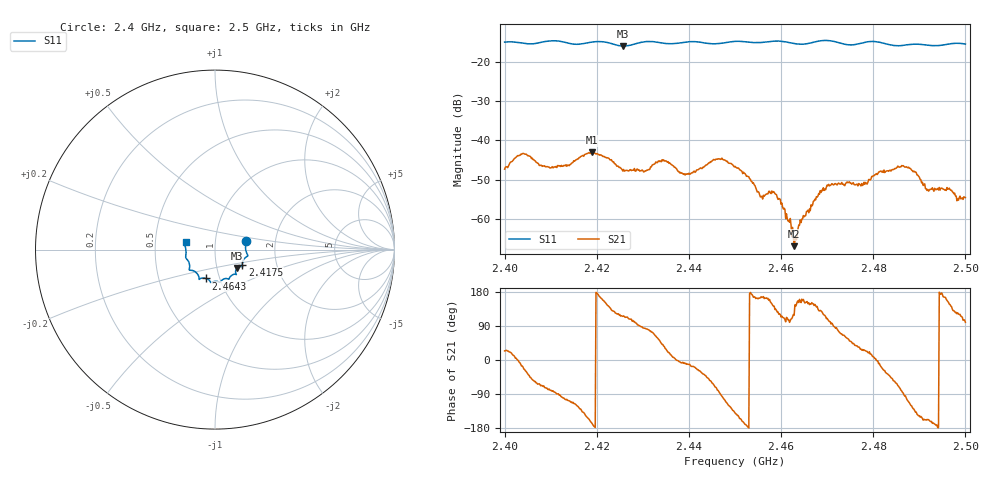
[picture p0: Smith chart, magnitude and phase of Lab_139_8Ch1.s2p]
# Hz S RI R 50
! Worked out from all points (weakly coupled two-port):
!   601 points, 2.4 GHz to 2.5 GHz, reference 50 ohm
!   highest |S21| = -43.08 dB at 2.419 GHz (marker M1); lowest = -67.0 dB at 2.4628 GHz (marker M2)
!   lowest |S11| = -15.9 dB at 2.4257 GHz (marker M3), VSWR 1.38, Z = 62.5 - j13.1 ohm
!   |S11| at or under -10 dB: start of sweep to end of sweep
!   S12 and S22 are empty: the file has one direction only
!   S11 on the Smith chart (normalised r, x): 2.4 GHz: 1.41, +0.14; 2.4175 GHz: 1.33, -0.23; 2.4643 GHz: 0.86, -0.29; 2.5 GHz: 0.72, +0.06
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2.4e9  0.1728 0.0487  0.00393 0.00175  0 0  0 0
2.404e9  0.1721 0.0253  0.00646 -0.00218  0 0  0 0
2.41e9  0.1832 -0.0328  0.000749 -0.00439  0 0  0 0
2.416667e9  0.1528 -0.0743  -0.00423 -0.00465  0 0  0 0
2.4175e9  0.1517 -0.0837  -0.00546 -0.0038  0 0  0 0
2.419e9  0.1526 -0.0948  -0.00687 -0.00144  0 0  0 0
2.425667e9  0.1228 -0.1019  -0.00172 0.00368  0 0  0 0
2.433333e9  0.1132 -0.1373  0.00304 0.0045  0 0  0 0
2.439333e9  0.0795 -0.161  0.00369 -0.000584  0 0  0 0
2.445833e9  0.049 -0.1638  0.00179 -0.00547  0 0  0 0
2.45e9  0.0291 -0.181  -0.00353 -0.00306  0 0  0 0
2.455833e9  -0.00509 -0.1777  -0.00187 0.000508  0 0  0 0
2.458667e9  -0.0213 -0.1835  -0.00143 0.00153  0 0  0 0
2.462833e9  -0.0352 -0.1681  -0.000211 0.000395  0 0  0 0
2.464333e9  -0.0498 -0.1608  -0.000787 0.000426  0 0  0 0
2.466667e9  -0.0758 -0.1594  -0.00128 0.000697  0 0  0 0
2.4705e9  -0.088 -0.1649  -0.00053 0.00258  0 0  0 0
2.477667e9  -0.1326 -0.1154  0.00236 0.00123  0 0  0 0
2.483333e9  -0.141 -0.0902  0.00312 -0.00256  0 0  0 0
2.4875e9  -0.1577 -0.0528  -0.00136 -0.00426  0 0  0 0
2.491833e9  -0.1616 -0.027  -0.0022 -0.000909  0 0  0 0
2.5e9  -0.164 0.0432  -0.000309 0.00184  0 0  0 0
